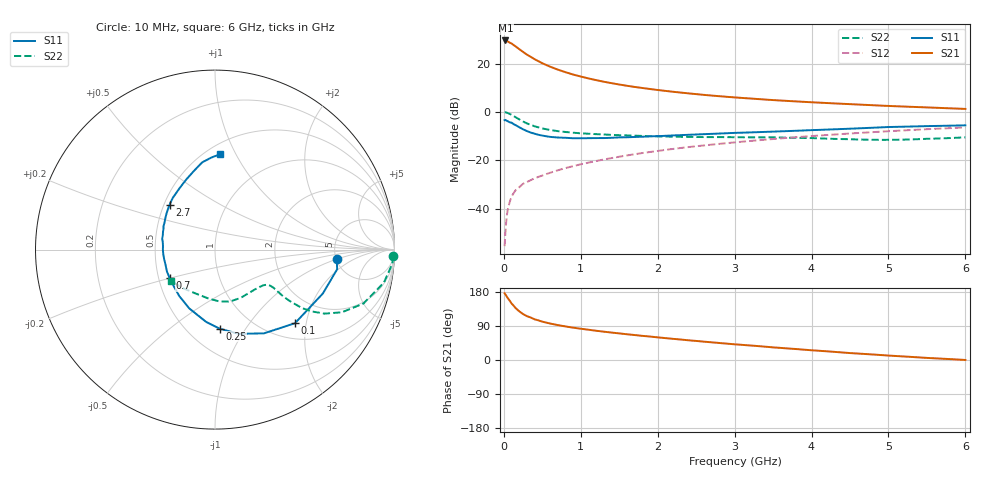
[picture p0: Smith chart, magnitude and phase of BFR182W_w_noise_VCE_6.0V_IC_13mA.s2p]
! Infineon Technologies  Discrete & RF Semiconductors
! BFR182W
! VCE =  6.0 V,  IC =  13 mA
! Common Emitter S-Parameters:  Jan 2017
# GHz  S  MA  R  50
!  f  S11  S21  S12  S22
! GHz  MAG  ANG  MAG  ANG  MAG  ANG  MAG  ANG
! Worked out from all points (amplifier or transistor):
!   77 points, 10 MHz to 6 GHz, reference 50 ohm
!   highest |S21| = 29.6 dB at 20 MHz (marker M1)
!   |S21| within 3 dB of that: start of sweep to 175.5 MHz
!   unconditionally stable (mu >= 1): 994.8 MHz to 2.535 GHz
!   at 130 MHz: K = 0.33, MSG = 30.5 dB, |S12| = -33.4 dB
!   at 2.2 GHz: K = 1.02, MAG = 11.0 dB, |S12| = -15.2 dB
!   at 6 GHz: K = 0.86, MSG = 3.8 dB, |S12| = -6.3 dB
!   lowest NFmin = 1.17 dB at 450 MHz
!   S11 on the Smith chart (normalised r, x): 10 MHz: 5.04, -1.00; 100 MHz: 1.33, -1.73; 250 MHz: 0.70, -0.77; 700 MHz: 0.57, -0.20; 2.7 GHz: 0.54, +0.30; 6 GHz: 0.59, +0.87
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0.01  0.68 -4.5  30.02 176.1  0.0017 92.6  0.993 -2.1
0.02  0.6895 -9.1  30.16 173.1  0.0032 96.4  0.991 -4.6
0.05  0.6486 -22.2  28.86 163.6  0.0095 80.2  0.9591 -11.0
0.1  0.6057 -42.6  26.12 149.3  0.0178 72.5  0.8806 -19.9
0.15  0.5405 -59.7  22.91 137.6  0.024 67.0  0.7886 -26.3
0.2  0.4872 -74.4  19.95 128.5  0.028 64.3  0.7071 -30.3
0.25  0.441 -86.7  17.48 121.2  0.0331 62.2  0.6391 -32.6
0.3  0.4058 -97.0  15.37 115.7  0.0359 62.2  0.5837 -33.9
0.4  0.3573 -113.8  12.35 107.3  0.0428 61.8  0.5084 -34.5
0.5  0.3268 -127.4  10.2 101.2  0.049 63.2  0.4594 -34.4
0.6  0.3074 -138.4  8.69 96.3  0.0557 63.9  0.4266 -33.9
0.7  0.2986 -147.7  7.546 92.2  0.0626 65.5  0.4041 -33.4
0.9  0.2884 -162.7  5.968 85.4  0.0763 66.7  0.3751 -33.1
1.1  0.2892 -174.3  4.959 79.9  0.0904 67.5  0.3572 -33.6
1.3  0.2906 175.9  4.234 74.7  0.105 67.5  0.3443 -34.8
1.5  0.3004 168.3  3.708 70.2  0.1196 67.4  0.3334 -36.7
2.1  0.3233 149.6  2.741 57.8  0.1655 65.3  0.3127 -46.0
2.7  0.3549 135.5  2.196 46.7  0.2126 62.1  0.3043 -58.2
3.1  0.3757 127.3  1.958 39.9  0.2447 59.2  0.3018 -66.4
4.1  0.4292 110.4  1.566 24.3  0.3278 51.2  0.2863 -87.2
5.1  0.4953 97.1  1.32 10.5  0.4104 41.9  0.2682 -117.4
6  0.5324 86.8  1.163 0.1  0.482 32.9  0.3007 -144.6
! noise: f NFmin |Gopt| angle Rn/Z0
0.45  1.17  0.04  108  0.14
0.9  1.26  0.05  122  0.14
1.9  1.73  0.23  -151  0.14
2.4  2  0.22  -136  0.21
